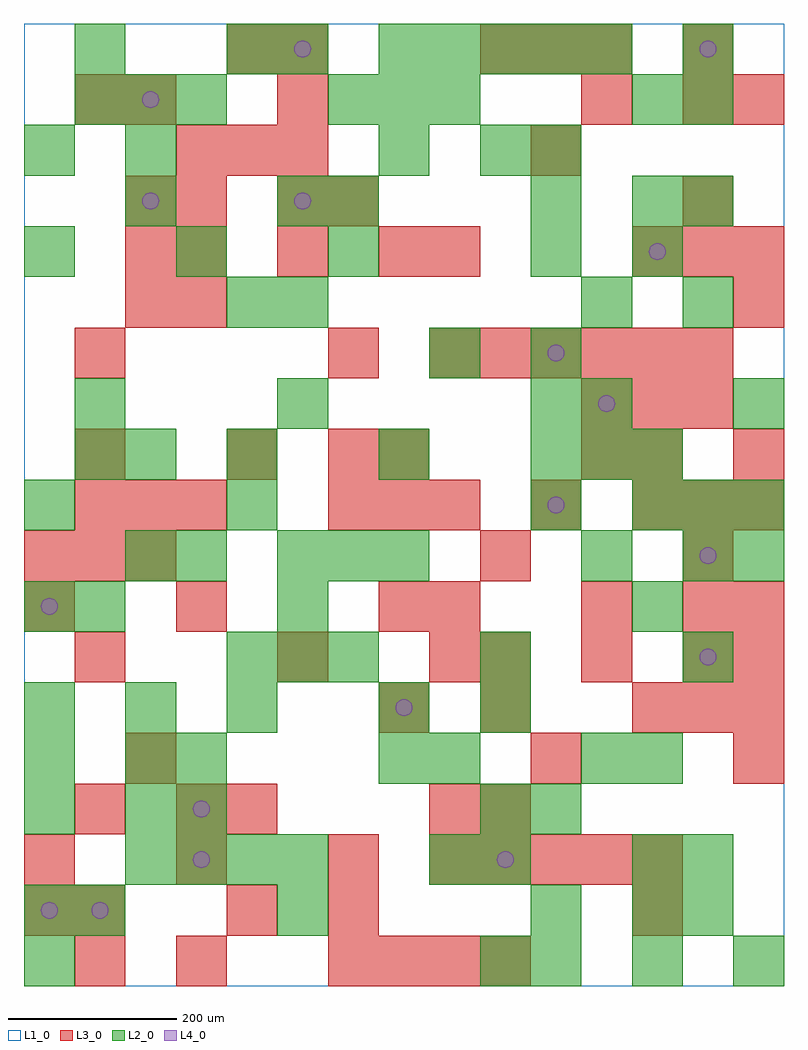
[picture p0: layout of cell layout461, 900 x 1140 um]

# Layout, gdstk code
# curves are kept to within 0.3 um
import gdstk
lib = gdstk.Library(unit=1e-6, precision=1e-09)
def R(c, l, rs):  # rectangles x0, y0, x1, y1
    for r in rs: c.add(gdstk.rectangle(r[:2], r[2:], *l))
def A(c, l, x, y, w, h, nx, ny, dx, dy):  # array of equal rectangles
    R(c, l, [(x+i*dx, y+j*dy, x+i*dx+w, y+j*dy+h) for i in range(nx) for j in range(ny)])
def P(c, l, *ps):  # polygons
    for p in ps: c.add(gdstk.Polygon(p, *l))
L1_0 = (1, 0)
L2_0 = (2, 0)
L3_0 = (3, 0)
L4_0 = (4, 0)

layout461 = lib.new_cell('layout461')
R(layout461, L1_0, [(0,0,900,1140)])
A(layout461, L2_0, 600, 0, 60, 60, 3, 1, 120, 0)
A(layout461, L2_0, 120, 120, 60, 60, 4, 1, 60, 0)
A(layout461, L2_0, 720, 240, 60, 60, 1, 3, 0, 180)
A(layout461, L2_0, 0, 300, 60, 60, 3, 1, 120, 0)
A(layout461, L2_0, 240, 360, 60, 60, 3, 1, 60, 0)
A(layout461, L2_0, 300, 480, 60, 60, 3, 1, 60, 0)
A(layout461, L2_0, 720, 540, 60, 60, 3, 1, 60, 0)
A(layout461, L2_0, 240, 600, 60, 60, 3, 1, 180, 0)
A(layout461, L2_0, 300, 660, 60, 60, 1, 3, 0, 120)
A(layout461, L2_0, 780, 780, 60, 60, 1, 3, 0, 120)
A(layout461, L2_0, 0, 840, 60, 60, 3, 1, 180, 0)
A(layout461, L2_0, 600, 840, 60, 60, 1, 3, 0, 60)
A(layout461, L2_0, 60, 1020, 60, 60, 3, 1, 60, 0)
A(layout461, L2_0, 360, 1020, 60, 60, 3, 1, 60, 0)
A(layout461, L2_0, 420, 1080, 60, 60, 5, 1, 60, 0)
R(layout461, L2_0, [(0,0,60,60), (540,0,600,60), (0,60,60,120), (60,60,120,120), (300,60,360,120), (600,60,660,120), (720,60,780,120), (780,60,840,120), (480,120,540,180), (540,120,600,180), (720,120,780,180), (780,120,840,180), (0,180,60,240), (120,180,180,240), (180,180,240,240), (540,180,600,240), (600,180,660,240), (0,240,60,300), (120,240,180,300), (180,240,240,300), (420,240,480,300), (480,240,540,300), (660,240,720,300), (420,300,480,360), (540,300,600,360), (540,360,600,420), (780,360,840,420), (0,420,60,480), (60,420,120,480), (300,420,360,480), (120,480,180,540), (180,480,240,540), (660,480,720,540), (780,480,840,540), (840,480,900,540), (0,540,60,600), (240,540,300,600), (600,540,660,600), (60,600,120,660), (120,600,180,660), (660,600,720,660), (60,660,120,720), (600,660,660,720), (660,660,720,720), (840,660,900,720), (480,720,540,780), (600,720,660,780), (240,780,300,840), (660,780,720,840), (720,840,780,900), (120,900,180,960), (360,900,420,960), (720,900,780,960), (0,960,60,1020), (120,960,180,1020), (420,960,480,1020), (540,960,600,1020), (720,1020,780,1080), (60,1080,120,1140), (240,1080,300,1140), (300,1080,360,1140), (780,1080,840,1140)])
A(layout461, L3_0, 360, 0, 60, 60, 4, 1, 60, 0)
A(layout461, L3_0, 0, 120, 60, 60, 3, 1, 180, 0)
A(layout461, L3_0, 480, 120, 60, 60, 5, 1, 60, 0)
A(layout461, L3_0, 720, 300, 60, 60, 3, 2, 60, 240)
A(layout461, L3_0, 540, 360, 60, 60, 3, 1, 120, 0)
A(layout461, L3_0, 840, 420, 60, 60, 1, 3, 0, 180)
A(layout461, L3_0, 0, 480, 60, 60, 3, 1, 60, 0)
A(layout461, L3_0, 60, 540, 60, 60, 3, 1, 60, 0)
A(layout461, L3_0, 360, 540, 60, 60, 3, 1, 60, 0)
A(layout461, L3_0, 660, 660, 60, 60, 3, 1, 60, 0)
A(layout461, L3_0, 480, 720, 60, 60, 6, 1, 60, 0)
A(layout461, L3_0, 120, 780, 60, 60, 1, 3, 0, 60)
A(layout461, L3_0, 180, 840, 60, 60, 3, 1, 120, 0)
A(layout461, L3_0, 720, 840, 60, 60, 3, 1, 60, 0)
A(layout461, L3_0, 180, 960, 60, 60, 3, 1, 60, 0)
A(layout461, L3_0, 540, 1080, 60, 60, 3, 1, 60, 0)
R(layout461, L3_0, [(60,0,120,60), (180,0,240,60), (0,60,60,120), (60,60,120,120), (240,60,300,120), (360,60,420,120), (720,60,780,120), (60,180,120,240), (180,180,240,240), (240,180,300,240), (480,180,540,240), (540,180,600,240), (120,240,180,300), (600,240,660,300), (840,240,900,300), (420,300,480,360), (540,300,600,360), (60,360,120,420), (300,360,360,420), (480,360,540,420), (840,360,900,420), (0,420,60,480), (180,420,240,480), (420,420,480,480), (480,420,540,480), (660,420,720,480), (780,420,840,480), (540,480,600,540), (780,480,840,540), (600,540,660,600), (60,600,120,660), (240,600,300,660), (360,600,420,660), (420,600,480,660), (660,600,720,660), (720,600,780,660), (60,720,120,780), (360,720,420,780), (180,780,240,840), (480,840,540,900), (180,900,240,960), (300,900,360,960), (360,900,420,960), (780,900,840,960), (600,960,660,1020), (60,1020,120,1080), (120,1020,180,1080), (300,1020,360,1080), (660,1020,720,1080), (780,1020,840,1080), (840,1020,900,1080), (240,1080,300,1140), (300,1080,360,1140), (780,1080,840,1140)])
P(layout461, L4_0, [(40,90),(39.239,93.827),(37.071,97.071),(33.827,99.239),(30,100),(26.173,99.239),(22.929,97.071),(20.761,93.827),(20,90),(20.761,86.173),(22.929,82.929),(26.173,80.761),(30,80),(33.827,80.761),(37.071,82.929),(39.239,86.173)],
  [(40,450),(39.239,453.827),(37.071,457.071),(33.827,459.239),(30,460),(26.173,459.239),(22.929,457.071),(20.761,453.827),(20,450),(20.761,446.173),(22.929,442.929),(26.173,440.761),(30,440),(33.827,440.761),(37.071,442.929),(39.239,446.173)],
  [(100,90),(99.239,93.827),(97.071,97.071),(93.827,99.239),(90,100),(86.173,99.239),(82.929,97.071),(80.761,93.827),(80,90),(80.761,86.173),(82.929,82.929),(86.173,80.761),(90,80),(93.827,80.761),(97.071,82.929),(99.239,86.173)],
  [(160,930),(159.239,933.827),(157.071,937.071),(153.827,939.239),(150,940),(146.173,939.239),(142.929,937.071),(140.761,933.827),(140,930),(140.761,926.173),(142.929,922.929),(146.173,920.761),(150,920),(153.827,920.761),(157.071,922.929),(159.239,926.173)],
  [(160,1050),(159.239,1053.827),(157.071,1057.071),(153.827,1059.239),(150,1060),(146.173,1059.239),(142.929,1057.071),(140.761,1053.827),(140,1050),(140.761,1046.173),(142.929,1042.929),(146.173,1040.761),(150,1040),(153.827,1040.761),(157.071,1042.929),(159.239,1046.173)],
  [(220,150),(219.239,153.827),(217.071,157.071),(213.827,159.239),(210,160),(206.173,159.239),(202.929,157.071),(200.761,153.827),(200,150),(200.761,146.173),(202.929,142.929),(206.173,140.761),(210,140),(213.827,140.761),(217.071,142.929),(219.239,146.173)],
  [(220,210),(219.239,213.827),(217.071,217.071),(213.827,219.239),(210,220),(206.173,219.239),(202.929,217.071),(200.761,213.827),(200,210),(200.761,206.173),(202.929,202.929),(206.173,200.761),(210,200),(213.827,200.761),(217.071,202.929),(219.239,206.173)],
  [(340,930),(339.239,933.827),(337.071,937.071),(333.827,939.239),(330,940),(326.173,939.239),(322.929,937.071),(320.761,933.827),(320,930),(320.761,926.173),(322.929,922.929),(326.173,920.761),(330,920),(333.827,920.761),(337.071,922.929),(339.239,926.173)],
  [(340,1110),(339.239,1113.827),(337.071,1117.071),(333.827,1119.239),(330,1120),(326.173,1119.239),(322.929,1117.071),(320.761,1113.827),(320,1110),(320.761,1106.173),(322.929,1102.929),(326.173,1100.761),(330,1100),(333.827,1100.761),(337.071,1102.929),(339.239,1106.173)],
  [(460,330),(459.239,333.827),(457.071,337.071),(453.827,339.239),(450,340),(446.173,339.239),(442.929,337.071),(440.761,333.827),(440,330),(440.761,326.173),(442.929,322.929),(446.173,320.761),(450,320),(453.827,320.761),(457.071,322.929),(459.239,326.173)],
  [(580,150),(579.239,153.827),(577.071,157.071),(573.827,159.239),(570,160),(566.173,159.239),(562.929,157.071),(560.761,153.827),(560,150),(560.761,146.173),(562.929,142.929),(566.173,140.761),(570,140),(573.827,140.761),(577.071,142.929),(579.239,146.173)],
  [(640,570),(639.239,573.827),(637.071,577.071),(633.827,579.239),(630,580),(626.173,579.239),(622.929,577.071),(620.761,573.827),(620,570),(620.761,566.173),(622.929,562.929),(626.173,560.761),(630,560),(633.827,560.761),(637.071,562.929),(639.239,566.173)],
  [(640,750),(639.239,753.827),(637.071,757.071),(633.827,759.239),(630,760),(626.173,759.239),(622.929,757.071),(620.761,753.827),(620,750),(620.761,746.173),(622.929,742.929),(626.173,740.761),(630,740),(633.827,740.761),(637.071,742.929),(639.239,746.173)],
  [(700,690),(699.239,693.827),(697.071,697.071),(693.827,699.239),(690,700),(686.173,699.239),(682.929,697.071),(680.761,693.827),(680,690),(680.761,686.173),(682.929,682.929),(686.173,680.761),(690,680),(693.827,680.761),(697.071,682.929),(699.239,686.173)],
  [(760,870),(759.239,873.827),(757.071,877.071),(753.827,879.239),(750,880),(746.173,879.239),(742.929,877.071),(740.761,873.827),(740,870),(740.761,866.173),(742.929,862.929),(746.173,860.761),(750,860),(753.827,860.761),(757.071,862.929),(759.239,866.173)],
  [(820,390),(819.239,393.827),(817.071,397.071),(813.827,399.239),(810,400),(806.173,399.239),(802.929,397.071),(800.761,393.827),(800,390),(800.761,386.173),(802.929,382.929),(806.173,380.761),(810,380),(813.827,380.761),(817.071,382.929),(819.239,386.173)],
  [(820,510),(819.239,513.827),(817.071,517.071),(813.827,519.239),(810,520),(806.173,519.239),(802.929,517.071),(800.761,513.827),(800,510),(800.761,506.173),(802.929,502.929),(806.173,500.761),(810,500),(813.827,500.761),(817.071,502.929),(819.239,506.173)],
  [(820,1110),(819.239,1113.827),(817.071,1117.071),(813.827,1119.239),(810,1120),(806.173,1119.239),(802.929,1117.071),(800.761,1113.827),(800,1110),(800.761,1106.173),(802.929,1102.929),(806.173,1100.761),(810,1100),(813.827,1100.761),(817.071,1102.929),(819.239,1106.173)])

lib.write_gds('layout461.gds')
